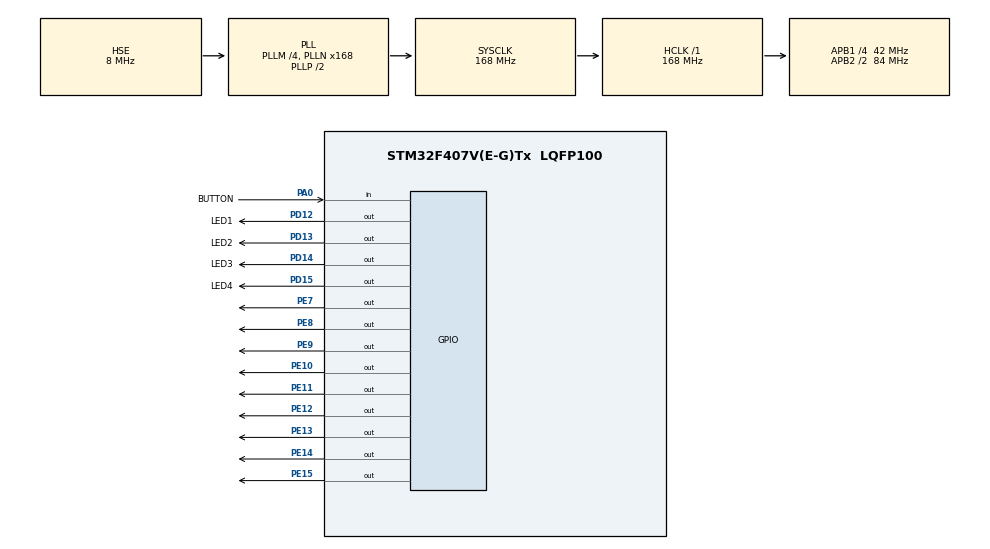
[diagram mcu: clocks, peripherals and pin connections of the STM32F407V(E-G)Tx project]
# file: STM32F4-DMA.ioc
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Dma.Request0=TIM1_UP
Dma.TIM1_UP.0.Direction=DMA_MEMORY_TO_PERIPH
Dma.TIM1_UP.0.FIFOMode=DMA_FIFOMODE_DISABLE
Dma.TIM1_UP.0.Instance=DMA2_Stream5
Dma.TIM1_UP.0.MemDataAlignment=DMA_MDATAALIGN_BYTE
Dma.TIM1_UP.0.MemInc=DMA_MINC_ENABLE
Dma.TIM1_UP.0.Mode=DMA_NORMAL
Dma.TIM1_UP.0.PeriphDataAlignment=DMA_PDATAALIGN_BYTE
Dma.TIM1_UP.0.PeriphInc=DMA_PINC_DISABLE
Dma.TIM1_UP.0.Priority=DMA_PRIORITY_VERY_HIGH
Mcu.Family=STM32F4
Mcu.Name=STM32F407V(E-G)Tx
Mcu.Package=LQFP100
NVIC.DMA2_Stream5_IRQn=true\:0\:0\:false\:false\:true\:false
NVIC.PriorityGroup=NVIC_PRIORITYGROUP_4
PA0-WKUP.GPIO_Label=BUTTON
PA0-WKUP.Signal=GPIO_Input
PA13.Mode=Serial_Wire
PA13.Signal=SYS_JTMS-SWDIO
PA14.Mode=Serial_Wire
PA14.Signal=SYS_JTCK-SWCLK
PD12.GPIO_Label=LED1
PD12.Signal=GPIO_Output
PD13.GPIO_Label=LED2
PD13.Signal=GPIO_Output
PD14.GPIO_Label=LED3
PD14.Signal=GPIO_Output
PD15.GPIO_Label=LED4
PD15.Signal=GPIO_Output
PE10.Signal=GPIO_Output
PE11.Signal=GPIO_Output
PE12.Signal=GPIO_Output
PE13.Signal=GPIO_Output
PE14.Signal=GPIO_Output
PE15.Signal=GPIO_Output
PE7.Signal=GPIO_Output
PE8.Signal=GPIO_Output
PE9.Signal=GPIO_Output
PH0-OSC_IN.Mode=HSE-External-Oscillator
PH0-OSC_IN.Signal=RCC_OSC_IN
PH1-OSC_OUT.Mode=HSE-External-Oscillator
PH1-OSC_OUT.Signal=RCC_OSC_OUT
ProjectManager.HeapSize=0x200
ProjectManager.StackSize=0x400
ProjectManager.TargetToolchain=SW4STM32
RCC.48MHZClocksFreq_Value=84000000
RCC.AHBFreq_Value=168000000
RCC.APB1CLKDivider=RCC_HCLK_DIV4
RCC.APB1Freq_Value=42000000
RCC.APB1TimFreq_Value=84000000
RCC.APB2CLKDivider=RCC_HCLK_DIV2
RCC.APB2Freq_Value=84000000
RCC.APB2TimFreq_Value=168000000
RCC.CortexFreq_Value=168000000
RCC.HCLKFreq_Value=168000000
RCC.HSE_VALUE=8000000
RCC.HSI_VALUE=16000000
RCC.LSE_VALUE=32768
RCC.PLLM=4
RCC.PLLN=168
RCC.PLLSourceVirtual=RCC_PLLSOURCE_HSE
RCC.SYSCLKFreq_VALUE=168000000
RCC.SYSCLKSource=RCC_SYSCLKSOURCE_PLLCLK
RCC.VCOOutputFreq_Value=336000000
TIM1.Period=3
TIM1.Prescaler=167
TIM1.TIM_MasterOutputTrigger=TIM_TRGO_RESET
VP_TIM1_VS_ClockSourceINT.Mode=Internal
board=STM32F4-DMA

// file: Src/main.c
/**
  ******************************************************************************
  * File Name          : main.c
  * Description        : Main program body
  ******************************************************************************
  ** This notice applies to any and all portions of this file
  * that are not between comment pairs USER CODE BEGIN and
  * USER CODE END. Other portions of this file, whether
  * inserted by the user or by software development tools
  * are owned by their respective copyright owners.
  *
  * COPYRIGHT(c) 2017 STMicroelectronics
  *
  * Redistribution and use in source and binary forms, with or without modification,
  * are permitted provided that the following conditions are met:
  *   1. Redistributions of source code must retain the above copyright notice,
  *      this list of conditions and the following disclaimer.
  *   2. Redistributions in binary form must reproduce the above copyright notice,
  *      this list of conditions and the following disclaimer in the documentation
  *      and/or other materials provided with the distribution.
  *   3. Neither the name of STMicroelectronics nor the names of its contributors
  *      may be used to endorse or promote products derived from this software
  *      without specific prior written permission.
  *
  * THIS SOFTWARE IS PROVIDED BY THE COPYRIGHT HOLDERS AND CONTRIBUTORS "AS IS"
  * AND ANY EXPRESS OR IMPLIED WARRANTIES, INCLUDING, BUT NOT LIMITED TO, THE
  * IMPLIED WARRANTIES OF MERCHANTABILITY AND FITNESS FOR A PARTICULAR PURPOSE ARE
  * DISCLAIMED. IN NO EVENT SHALL THE COPYRIGHT HOLDER OR CONTRIBUTORS BE LIABLE
  * FOR ANY DIRECT, INDIRECT, INCIDENTAL, SPECIAL, EXEMPLARY, OR CONSEQUENTIAL
  * DAMAGES (INCLUDING, BUT NOT LIMITED TO, PROCUREMENT OF SUBSTITUTE GOODS OR
  * SERVICES; LOSS OF USE, DATA, OR PROFITS; OR BUSINESS INTERRUPTION) HOWEVER
  * CAUSED AND ON ANY THEORY OF LIABILITY, WHETHER IN CONTRACT, STRICT LIABILITY,
  * OR TORT (INCLUDING NEGLIGENCE OR OTHERWISE) ARISING IN ANY WAY OUT OF THE USE
  * OF THIS SOFTWARE, EVEN IF ADVISED OF THE POSSIBILITY OF SUCH DAMAGE.
  *
  ******************************************************************************
  */
#include "main.h"
#include "stm32f4xx_hal.h"
#include "dma.h"
#include "tim.h"
#include "gpio.h"

/* USER CODE BEGIN PV */
/* Private variables ---------------------------------------------------------*/
extern DMA_HandleTypeDef hdma_tim1_up;
uint8_t data[] = {0xF0, 0xE1, 0xD2, 0xC3, 0xB4, 0xA5, 0x96, 0x87, 0x78, 0x69, 0x5a, 0x4b, 0x4c, 0x3d, 0x2e, 0x1f, 0x00}; // Data to transfer
/* USER CODE END PV */

void SystemClock_Config(void);

/* USER CODE BEGIN PFP */
/* Private function prototypes -----------------------------------------------*/

/* USER CODE END PFP */

/* USER CODE BEGIN 0 */
int _write(int file, char *ptr, int len)
{
	int DataIdx;
	for(DataIdx = 0; DataIdx < len; DataIdx++)
	{
	   ITM_SendChar( *ptr++ );
	}
	return len;
}

/* USER CODE END 0 */

int main(void)
{

  /* USER CODE BEGIN 1 */
	int btn = 0;
  /* USER CODE END 1 */

  /* MCU Configuration----------------------------------------------------------*/

  /* Reset of all peripherals, Initializes the Flash interface and the Systick. */
  HAL_Init();

  /* Configure the system clock */
  SystemClock_Config();

  /* Initialize all configured peripherals */
  MX_GPIO_Init();
  MX_DMA_Init();
  MX_TIM1_Init();

  /* USER CODE BEGIN 2 */

  HAL_TIM_Base_Start(&htim1);								// GPIOE[8..15]
  HAL_DMA_Start_IT(&hdma_tim1_up, (uint32_t)data, (((uint32_t)&GPIOE->ODR)+1), 17);
  __HAL_TIM_ENABLE_DMA(&htim1, TIM_DMA_UPDATE);

  printf("Running\n");
  /* USER CODE END 2 */

  /* Infinite loop */
  /* USER CODE BEGIN WHILE */
  while (1)
  {
	  if(BUTTON_GPIO_Port->IDR & BUTTON_Pin) // IF "User" Button is pressed
	  {
		  if(btn == 0)
		  {
			  printf("DMA Transmit...\n");
			  HAL_DMA_Init(&hdma_tim1_up);
		      HAL_DMA_Start_IT(&hdma_tim1_up, (uint32_t)data, (((uint32_t)&GPIOE->ODR)+1), 17);
		      __HAL_TIM_ENABLE_DMA(&htim1, TIM_DMA_UPDATE);
		  }
		  btn = 1;
	  }
	  else
	  {
		  btn = 0;
	  }
  /* USER CODE END WHILE */

  }

}

/** System Clock Configuration
*/
void SystemClock_Config(void)
{

  RCC_OscInitTypeDef RCC_OscInitStruct;
  RCC_ClkInitTypeDef RCC_ClkInitStruct;

    /**Configure the main internal regulator output voltage
    */
  __HAL_RCC_PWR_CLK_ENABLE();

  __HAL_PWR_VOLTAGESCALING_CONFIG(PWR_REGULATOR_VOLTAGE_SCALE1);

    /**Initializes the CPU, AHB and APB busses clocks
    */
  RCC_OscInitStruct.OscillatorType = RCC_OSCILLATORTYPE_HSE;
  RCC_OscInitStruct.HSEState = RCC_HSE_ON;
  RCC_OscInitStruct.PLL.PLLState = RCC_PLL_ON;
  RCC_OscInitStruct.PLL.PLLSource = RCC_PLLSOURCE_HSE;
  RCC_OscInitStruct.PLL.PLLM = 4;
  RCC_OscInitStruct.PLL.PLLN = 168;
  RCC_OscInitStruct.PLL.PLLP = RCC_PLLP_DIV2;
  RCC_OscInitStruct.PLL.PLLQ = 4;
  if (HAL_RCC_OscConfig(&RCC_OscInitStruct) != HAL_OK)
  {
    _Error_Handler(__FILE__, __LINE__);
  }

    /**Initializes the CPU, AHB and APB busses clocks
    */
  RCC_ClkInitStruct.ClockType = RCC_CLOCKTYPE_HCLK|RCC_CLOCKTYPE_SYSCLK
                              |RCC_CLOCKTYPE_PCLK1|RCC_CLOCKTYPE_PCLK2;
  RCC_ClkInitStruct.SYSCLKSource = RCC_SYSCLKSOURCE_PLLCLK;
  RCC_ClkInitStruct.AHBCLKDivider = RCC_SYSCLK_DIV1;
  RCC_ClkInitStruct.APB1CLKDivider = RCC_HCLK_DIV4;
  RCC_ClkInitStruct.APB2CLKDivider = RCC_HCLK_DIV2;

  if (HAL_RCC_ClockConfig(&RCC_ClkInitStruct, FLASH_LATENCY_5) != HAL_OK)
  {
    _Error_Handler(__FILE__, __LINE__);
  }

    /**Configure the Systick interrupt time
    */
  HAL_SYSTICK_Config(HAL_RCC_GetHCLKFreq()/1000);

    /**Configure the Systick
    */
  HAL_SYSTICK_CLKSourceConfig(SYSTICK_CLKSOURCE_HCLK);

  /* SysTick_IRQn interrupt configuration */
  HAL_NVIC_SetPriority(SysTick_IRQn, 0, 0);
}

void _Error_Handler(char * file, int line)
{
  /* USER CODE BEGIN Error_Handler_Debug */
	printf("Error! %s:%d", file, line);
  /* User can add his own implementation to report the HAL error return state */
  while(1)
  {
  }
  /* USER CODE END Error_Handler_Debug */
}

/************************ (C) COPYRIGHT STMicroelectronics *****END OF FILE****/
